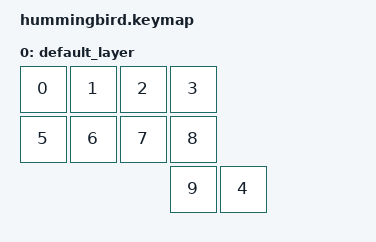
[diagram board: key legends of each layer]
/*
 * Copyright (c) 2022 The ZMK Contributors
 *
 * SPDX-License-Identifier: MIT
 */

#include <behaviors.dtsi>
#include <dt-bindings/zmk/keys.h>

#define DEF_L 0
#define NAV_L 1
#define NUM_L 2
#define SYM_L 3

// Using layer taps on thumbs, having quick tap as well helps w/ repeating space/backspace
&lt { quick_tap_ms = <200>; };

/ {
    behaviors {
        hm: homerow_mods {
            compatible = "zmk,behavior-hold-tap";
            #binding-cells = <2>;
            tapping_term_ms = <225>;
            flavor = "tap-preferred";
            bindings = <&kp>, <&kp>;
        };
    };
/*
    combos {
        compatible = "zmk,combos";
        combo_z {
            timeout-ms = <50>;
            key-positions = <20 21>;
            bindings = <&kp Z>;
        };
        combo_b {
            timeout-ms = <50>;
            key-positions = <21 22>;
            bindings = <&kp B>;
        };

        combo_y {
            timeout-ms = <50>;
            key-positions = <23 24>;
            bindings = <&kp Y>;
        };

        combo_slash {
            timeout-ms = <50>;
            key-positions = <24 25>;
            bindings = <&kp SLASH>;
        };
    };
*/
    keymap {
        compatible = "zmk,keymap";

        default_layer {
            bindings = <
                &kp N0      &kp N1      &kp N2       &kp N3
                &kp N5      &kp N6      &kp N7       &kp N8
                                                  &kp N9      &kp N4
            >;
        };
    };
};
